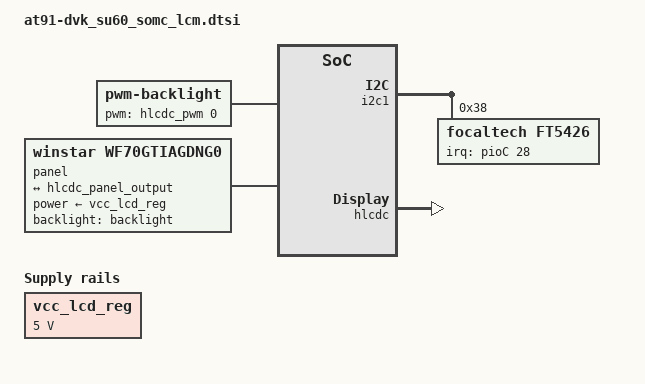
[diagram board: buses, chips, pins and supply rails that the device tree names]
// SPDX-License-Identifier: GPL-2.0
/*
 * at91-dvk_su60_somc_lcm.dtsi - Device Tree file for the DVK SOM60 LCD board
 *
 *  Copyright (C) 2018 Laird,
 *		  2018 Ben Whitten <ben.whitten@lairdtech.com>
 *
 */

/ {
	backlight: backlight {
		compatible = "pwm-backlight";
		pwms = <&hlcdc_pwm 0 50000 0>;
		brightness-levels = <0 4 8 16 32 64 128 255>;
		default-brightness-level = <6>;
		status = "okay";
	};

	panel: panel {
		compatible = "winstar,wf70gtiagdng0", "innolux,at070tn92";
		backlight = <&backlight>;
		power-supply = <&vcc_lcd_reg>;
		#address-cells = <1>;
		#size-cells = <0>;
		status = "okay";

		port@0 {
			#address-cells = <1>;
			#size-cells = <0>;
			reg = <0>;

			panel_input: endpoint@0 {
				reg = <0>;
				remote-endpoint = <&hlcdc_panel_output>;
			};
		};
	};

	vcc_lcd_reg: fixedregulator_lcd {
		compatible = "regulator-fixed";
		regulator-name = "VCC LCM";
		regulator-min-microvolt = <5000000>;
		regulator-max-microvolt = <5000000>;
		regulator-boot-on;
		regulator-always-on;
		status = "okay";
	};
};

&pinctrl {
	board {
		pinctrl_lcd_ctp_int: lcd_ctp_int {
			 atmel,pins =
				 <AT91_PIOC 28 AT91_PERIPH_GPIO AT91_PINCTRL_PULL_UP_DEGLITCH>;
		};
	};
};

&i2c1 {
	status = "okay";

	ft5426@38 {
		compatible = "focaltech,ft5426", "edt,edt-ft5406";
		reg = <0x38>;
		pinctrl-names = "default";
		pinctrl-0 = <&pinctrl_lcd_ctp_int>;

		interrupt-parent = <&pioC>;
		interrupts = <28 IRQ_TYPE_EDGE_FALLING>;

		touchscreen-size-x = <800>;
		touchscreen-size-y = <480>;
	};
};

&hlcdc {
	status = "okay";

	hlcdc-display-controller {
		pinctrl-names = "default";
		pinctrl-0 = <&pinctrl_lcd_base &pinctrl_lcd_rgb888>;

		port@0 {
			hlcdc_panel_output: endpoint@0 {
				reg = <0>;
				remote-endpoint = <&panel_input>;
			};
		};
	};
};
